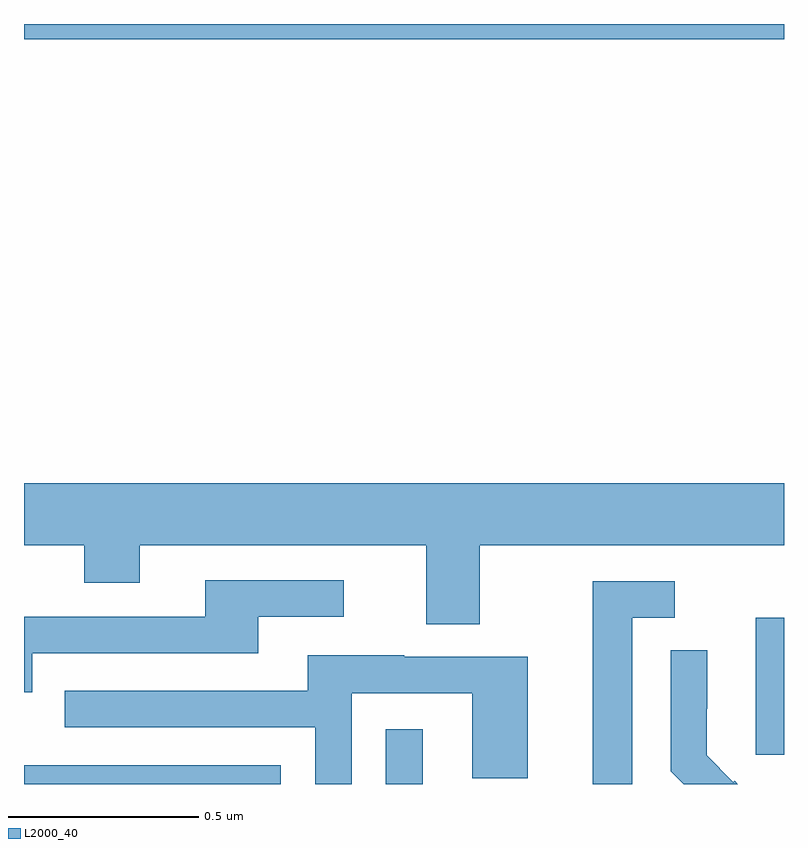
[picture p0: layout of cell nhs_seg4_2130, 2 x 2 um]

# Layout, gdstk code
import gdstk
lib = gdstk.Library(unit=1e-6, precision=1e-09)
def R(c, l, rs):  # rectangles x0, y0, x1, y1
    for r in rs: c.add(gdstk.rectangle(r[:2], r[2:], *l))
def P(c, l, *ps):  # polygons
    for p in ps: c.add(gdstk.Polygon(p, *l))
L2000_40 = (2000, 40)

nhs_seg4_2130 = lib.new_cell('nhs_seg4_2130')
R(nhs_seg4_2130, L2000_40, [(137,754.9,137.676,754.95), (137.952,754.9,138.049,755.044), (138.926,754.977,139,755.338), (137,756.86,139,756.9)])
P(nhs_seg4_2130, L2000_40, [(138.199,755.528),(139,755.528),(139,755.692),(137,755.692),(137,755.528),(137.158,755.528),(137.158,755.429),(137.305,755.429),(137.305,755.528),(138.059,755.528),(138.059,755.32),(138.199,755.32)],
  [(137.022,755.244),(137.617,755.244),(137.617,755.34),(137.842,755.34),(137.842,755.436),(137.477,755.436),(137.477,755.34),(137,755.34),(137,755.141),(137.022,755.141)],
  [(138.601,755.337),(138.712,755.337),(138.712,755.433),(138.497,755.433),(138.497,754.9),(138.601,754.9)],
  [(138.87,754.908),(138.867,754.905),(138.797,754.976),(138.797,755.098),(138.798,755.098),(138.798,755.252),(138.702,755.252),(138.702,754.934),(138.736,754.9),(138.878,754.9)],
  [(137.862,755.139),(138.18,755.139),(138.18,754.915),(138.325,754.915),(138.325,755.235),(138.001,755.235),(138.001,755.239),(137.747,755.239),(137.747,755.145),(137.107,755.145),(137.107,755.049),(137.766,755.049),(137.766,754.9),(137.862,754.9)])

lib.write_gds('nhs_seg4_2130.gds')
